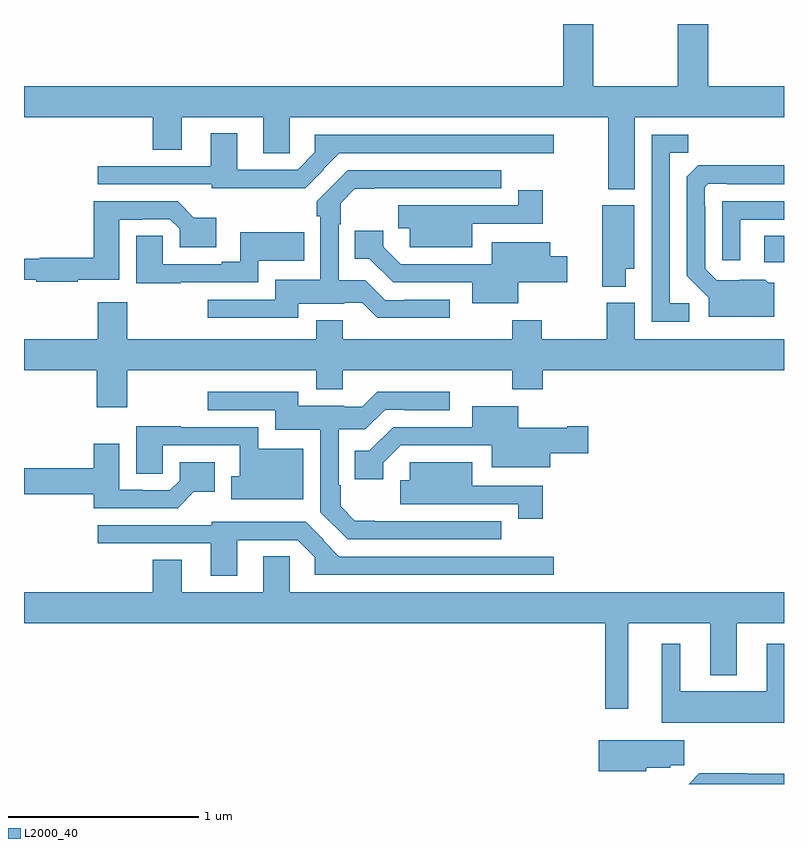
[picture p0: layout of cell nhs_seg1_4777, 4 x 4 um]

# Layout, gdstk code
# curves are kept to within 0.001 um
import gdstk
lib = gdstk.Library(unit=1e-6, precision=1e-09)
def R(c, l, rs):  # rectangles x0, y0, x1, y1
    for r in rs: c.add(gdstk.rectangle(r[:2], r[2:], *l))
def P(c, l, *ps):  # polygons
    for p in ps: c.add(gdstk.Polygon(p, *l))
L2000_40 = (2000, 40)

nhs_seg1_4777 = lib.new_cell('nhs_seg1_4777')
R(nhs_seg1_4777, L2000_40, [(372.897,574.944,373,575.084)])
P(nhs_seg1_4777, L2000_40, [(372.214,575.708),(373,575.708),(373,575.872),(372.602,575.872),(372.602,576.199),(372.442,576.199),(372.442,575.872),(371.997,575.872),(371.997,576.199),(371.837,576.199),(371.837,575.872),(369,575.872),(369,575.708),(369.677,575.708),(369.677,575.536),(369.829,575.536),(369.829,575.708),(370.259,575.708),(370.259,575.518),(370.398,575.518),(370.398,575.708),(372.074,575.708),(372.074,575.33),(372.214,575.33)],
  [(370.577,575.432),(370.574,575.435),(370.659,575.52),(371.788,575.52),(371.788,575.616),(370.531,575.616),(370.531,575.524),(370.44,575.433),(370.123,575.433),(370.123,575.623),(369.983,575.623),(369.983,575.451),(369.387,575.451),(369.387,575.355),(369.987,575.355),(369.987,575.335),(370.479,575.335)],
  [(372.502,574.728),(372.399,574.728),(372.399,575.521),(372.495,575.521),(372.495,575.616),(372.303,575.616),(372.303,574.632),(372.502,574.632)],
  [(372.949,574.836),(372.918,574.836),(372.902,574.852),(372.645,574.851),(372.585,574.911),(372.585,575.24),(372.582,575.24),(372.582,575.34),(372.6,575.358),(372.7,575.358),(372.7,575.355),(373,575.355),(373,575.456),(372.548,575.455),(372.489,575.396),(372.489,574.874),(372.605,574.758),(372.605,574.658),(372.949,574.658)],
  [(371.242,574.749),(371.002,574.749),(371.002,574.746),(370.902,574.746),(370.797,574.851),(370.656,574.851),(370.656,575.144),(370.667,575.144),(370.667,575.256),(370.742,575.332),(370.846,575.332),(370.846,575.334),(371.512,575.334),(371.512,575.43),(370.703,575.43),(370.54,575.267),(370.54,575.186),(370.56,575.186),(370.56,574.852),(370.322,574.852),(370.322,574.749),(369.966,574.749),(369.966,574.653),(370.444,574.653),(370.444,574.727),(370.685,574.727),(370.685,574.731),(370.779,574.731),(370.858,574.652),(371.242,574.652)],
  [(371.359,575.148),(371.731,575.148),(371.731,575.323),(371.6,575.323),(371.6,575.244),(371.255,575.244),(371.255,575.245),(370.971,575.245),(370.971,575.123),(371.03,575.123),(371.03,575.024),(371.359,575.024)],
  [(372.771,575.169),(373,575.169),(373,575.265),(372.675,575.265),(372.675,574.956),(372.771,574.956)],
  [(369.284,574.854),(369.502,574.854),(369.502,575.169),(369.626,575.169),(369.626,575.172),(369.768,575.172),(369.819,575.121),(369.819,575.024),(370.012,575.024),(370.012,575.179),(369.894,575.179),(369.808,575.265),(369.368,575.265),(369.368,574.97),(369.084,574.97),(369.084,574.963),(369,574.963),(369,574.854),(369.064,574.854),(369.064,574.842),(369.284,574.842)],
  [(372.166,574.91),(372.211,574.91),(372.211,575.245),(372.044,575.245),(372.044,574.817),(372.166,574.817)],
  [(371.602,574.841),(371.86,574.841),(371.86,574.976),(371.77,574.976),(371.77,575.05),(371.462,575.05),(371.462,574.935),(370.983,574.935),(370.891,575.027),(370.891,575.112),(370.741,575.112),(370.741,574.964),(370.818,574.964),(370.943,574.839),(371.36,574.839),(371.36,574.73),(371.602,574.73)],
  [(369.826,574.839),(370.233,574.839),(370.233,574.952),(370.475,574.952),(370.475,575.104),(370.137,575.104),(370.137,574.948),(370.04,574.948),(370.04,574.935),(369.729,574.935),(369.729,575.084),(369.59,575.084),(369.59,574.834),(369.826,574.834)],
  [(369.543,574.376),(370.538,574.376),(370.538,574.277),(370.678,574.277),(370.678,574.376),(371.569,574.376),(371.569,574.277),(371.729,574.277),(371.729,574.376),(373,574.376),(373,574.54),(372.214,574.54),(372.214,574.732),(372.067,574.732),(372.067,574.54),(371.724,574.54),(371.724,574.639),(371.569,574.639),(371.569,574.54),(370.678,574.54),(370.678,574.639),(370.538,574.639),(370.538,574.54),(369.543,574.54),(369.543,574.735),(369.388,574.735),(369.388,574.54),(369,574.54),(369,574.376),(369.383,574.376),(369.383,574.182),(369.543,574.182)],
  [(371.512,573.582),(370.846,573.582),(370.846,573.585),(370.742,573.585),(370.666,573.66),(370.666,573.772),(370.656,573.772),(370.656,574.065),(370.797,574.065),(370.902,574.17),(371.002,574.17),(371.002,574.167),(371.242,574.167),(371.242,574.264),(370.858,574.264),(370.779,574.185),(370.685,574.185),(370.685,574.189),(370.444,574.189),(370.444,574.263),(369.966,574.263),(369.966,574.167),(370.322,574.167),(370.322,574.064),(370.56,574.064),(370.56,573.629),(370.703,573.486),(371.512,573.486)],
  [(370.891,573.889),(370.983,573.981),(371.462,573.981),(371.462,573.866),(371.77,573.866),(371.77,573.941),(371.971,573.941),(371.971,574.083),(371.858,574.083),(371.858,574.075),(371.602,574.075),(371.602,574.186),(371.36,574.186),(371.36,574.077),(370.943,574.077),(370.818,573.952),(370.741,573.952),(370.741,573.804),(370.891,573.804)],
  [(370.471,573.964),(370.233,573.964),(370.233,574.077),(369.826,574.077),(369.826,574.082),(369.59,574.082),(369.59,573.832),(369.729,573.832),(369.729,573.981),(370.136,573.981),(370.136,573.82),(370.09,573.82),(370.09,573.698),(370.471,573.698)],
  [(369.894,573.737),(370.005,573.737),(370.005,573.892),(369.819,573.892),(369.819,573.795),(369.768,573.744),(369.626,573.744),(369.626,573.747),(369.502,573.747),(369.502,573.991),(369.368,573.991),(369.368,573.86),(369,573.86),(369,573.724),(369.368,573.724),(369.368,573.651),(369.808,573.651)],
  [(371.731,573.768),(371.359,573.768),(371.359,573.892),(371.03,573.892),(371.03,573.799),(370.979,573.799),(370.979,573.671),(371.255,573.671),(371.255,573.672),(371.6,573.672),(371.6,573.594),(371.731,573.594)],
  [(370.123,573.483),(370.44,573.483),(370.531,573.393),(370.531,573.3),(371.788,573.3),(371.788,573.396),(370.659,573.396),(370.574,573.481),(370.577,573.484),(370.482,573.579),(369.987,573.579),(369.987,573.561),(369.387,573.561),(369.387,573.465),(369.983,573.465),(369.983,573.294),(370.123,573.294)],
  [(372.181,573.044),(372.611,573.044),(372.611,572.771),(372.751,572.771),(372.751,573.044),(373,573.044),(373,573.208),(370.398,573.208),(370.398,573.398),(370.259,573.398),(370.259,573.208),(369.829,573.208),(369.829,573.38),(369.677,573.38),(369.677,573.208),(369,573.208),(369,573.044),(372.06,573.044),(372.06,572.595),(372.181,572.595)],
  [(373,572.938),(372.908,572.938),(372.908,572.686),(372.454,572.686),(372.454,572.938),(372.356,572.938),(372.356,572.522),(373,572.522)],
  [(372.276,572.285),(372.402,572.285),(372.402,572.299),(372.475,572.299),(372.475,572.428),(372.026,572.428),(372.026,572.267),(372.276,572.267)],
  [(373,572.252),(372.809,572.252),(372.809,572.255),(372.554,572.255),(372.498,572.199),(373,572.199)])

lib.write_gds('nhs_seg1_4777.gds')
